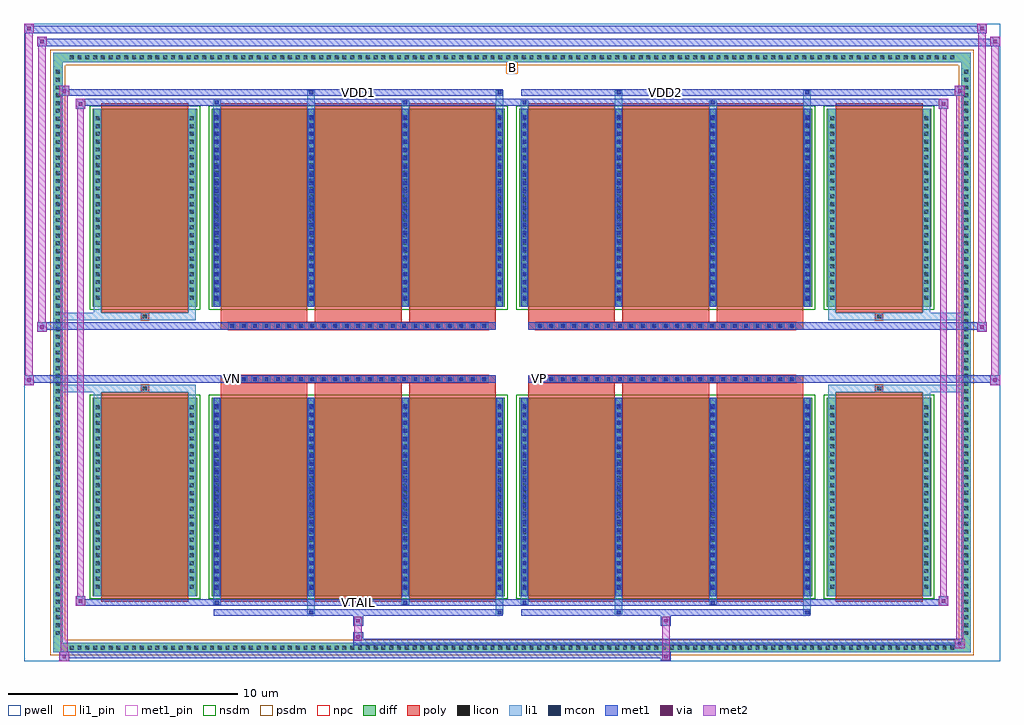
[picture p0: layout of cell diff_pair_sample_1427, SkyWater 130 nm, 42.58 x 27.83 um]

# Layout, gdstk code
import gdstk
lib = gdstk.Library(unit=1e-6, precision=5e-09)
def R(c, l, rs):  # rectangles x0, y0, x1, y1
    for r in rs: c.add(gdstk.rectangle(r[:2], r[2:], *l))
def A(c, l, x, y, w, h, nx, ny, dx, dy):  # array of equal rectangles
    R(c, l, [(x+i*dx, y+j*dy, x+i*dx+w, y+j*dy+h) for i in range(nx) for j in range(ny)])
def P(c, l, *ps):  # polygons
    for p in ps: c.add(gdstk.Polygon(p, *l))
pwell = (64, 44)
diff = (65, 20)
poly = (66, 20)
licon = (66, 44)
li1_pin = (67, 16)
li1 = (67, 20)
mcon = (67, 44)
met1_pin = (68, 16)
met1 = (68, 20)
via = (68, 44)
met2 = (69, 20)
nsdm = (93, 44)
psdm = (94, 20)
npc = (95, 20)

diff_pair_sample_1427 = lib.new_cell('diff_pair_sample_1427')
R(diff_pair_sample_1427, pwell, [(-21.29,-13.48,21.29,14.35), (-18.61,-11.67,-0.01,-0.795), (0.01,-11.67,18.61,-0.795), (-18.61,0.795,-0.01,11.67), (0.01,0.795,18.61,11.67)])
A(diff_pair_sample_1427, diff, -19.415, -13.08, 0.41, 0.41, 114, 2, 0.34, 25.75)
A(diff_pair_sample_1427, diff, -20.02, -12.445, 0.41, 0.41, 1, 73, 0, 0.34)
A(diff_pair_sample_1427, diff, 19.61, -12.445, 0.41, 0.41, 1, 73, 0, 0.34)
R(diff_pair_sample_1427, diff, [(-19.415,-13.08,19.415,-12.67), (-20.02,-12.445,-19.61,12.445), (19.61,-12.445,20.02,12.445), (-18.3,-10.625,-13.74,-1.985), (-13.1,-10.625,-0.32,-1.985), (0.32,-10.625,13.1,-1.985), (13.74,-10.625,18.3,-1.985), (-18.3,1.985,-13.74,10.625), (-13.1,1.985,-0.32,10.625), (0.32,1.985,13.1,10.625), (13.74,1.985,18.3,10.625), (-19.415,12.67,19.415,13.08)])
P(diff_pair_sample_1427, diff, [(20.02,13.08),(-20.02,13.08),(-20.02,-12.67),(-19.61,-12.67),(-19.61,12.67),(19.61,12.67),(19.61,-12.67),(-19.61,-12.67),(-20.02,-12.67),(-20.02,-13.08),(20.02,-13.08)])
A(diff_pair_sample_1427, poly, -12.71, -10.875, 3.78, 9.14, 3, 2, 4.11, 12.61)
A(diff_pair_sample_1427, poly, 0.71, -10.875, 3.78, 9.14, 3, 2, 4.11, 12.61)
A(diff_pair_sample_1427, poly, -12.71, -1.735, 3.78, 0.41, 3, 2, 4.11, 3.06)
A(diff_pair_sample_1427, poly, 0.71, -1.735, 3.78, 0.41, 3, 2, 4.11, 3.06)
A(diff_pair_sample_1427, poly, -12.375, -1.325, 0.33, 0.33, 23, 2, 0.5, 2.32)
A(diff_pair_sample_1427, poly, 1.045, -1.325, 0.33, 0.33, 23, 2, 0.5, 2.32)
R(diff_pair_sample_1427, poly, [(-17.91,-10.875,-14.13,-1.735), (14.13,-10.875,17.91,-1.735), (-16.185,-1.735,-15.855,-1.405), (-16.185,-1.735,-15.855,-1.405), (15.855,-1.735,16.185,-1.405), (15.855,-1.735,16.185,-1.405), (-12.71,-1.325,-0.71,-0.995), (0.71,-1.325,12.71,-0.995), (-12.71,0.995,-0.71,1.325), (0.71,0.995,12.71,1.325), (-16.185,1.405,-15.855,1.735), (-16.185,1.405,-15.855,1.735), (15.855,1.405,16.185,1.735), (15.855,1.405,16.185,1.735), (-17.91,1.735,-14.13,10.875), (14.13,1.735,17.91,10.875)])
A(diff_pair_sample_1427, licon, -19.295, -12.96, 0.17, 0.17, 114, 2, 0.34, 25.75)
A(diff_pair_sample_1427, licon, -19.9, -12.325, 0.17, 0.17, 1, 73, 0, 0.34)
A(diff_pair_sample_1427, licon, 19.73, -12.325, 0.17, 0.17, 1, 73, 0, 0.34)
A(diff_pair_sample_1427, licon, -18.16, -10.3, 0.17, 0.17, 1, 24, 0, 0.34)
A(diff_pair_sample_1427, licon, -14.05, -10.3, 0.17, 0.17, 1, 24, 0, 0.34)
A(diff_pair_sample_1427, licon, -12.96, -10.3, 0.17, 0.17, 4, 24, 4.11, 0.34)
A(diff_pair_sample_1427, licon, 0.46, -10.3, 0.17, 0.17, 4, 24, 4.11, 0.34)
A(diff_pair_sample_1427, licon, 13.88, -10.3, 0.17, 0.17, 1, 24, 0, 0.34)
A(diff_pair_sample_1427, licon, 17.99, -10.3, 0.17, 0.17, 1, 24, 0, 0.34)
A(diff_pair_sample_1427, licon, -12.295, -1.245, 0.17, 0.17, 23, 2, 0.5, 2.32)
A(diff_pair_sample_1427, licon, 1.125, -1.245, 0.17, 0.17, 23, 2, 0.5, 2.32)
A(diff_pair_sample_1427, licon, -18.16, 2.31, 0.17, 0.17, 1, 24, 0, 0.34)
A(diff_pair_sample_1427, licon, -14.05, 2.31, 0.17, 0.17, 1, 24, 0, 0.34)
A(diff_pair_sample_1427, licon, -12.96, 2.31, 0.17, 0.17, 4, 24, 4.11, 0.34)
A(diff_pair_sample_1427, licon, 0.46, 2.31, 0.17, 0.17, 4, 24, 4.11, 0.34)
A(diff_pair_sample_1427, licon, 13.88, 2.31, 0.17, 0.17, 1, 24, 0, 0.34)
A(diff_pair_sample_1427, licon, 17.99, 2.31, 0.17, 0.17, 1, 24, 0, 0.34)
R(diff_pair_sample_1427, licon, [(-16.105,-1.655,-15.935,-1.485), (15.935,-1.655,16.105,-1.485), (-16.105,1.485,-15.935,1.655), (15.935,1.485,16.105,1.655)])
R(diff_pair_sample_1427, li1_pin, [(-0.25,12.17,0.25,12.67)])
A(diff_pair_sample_1427, li1, -19.375, -13.04, 0.33, 0.33, 114, 2, 0.34, 25.75)
A(diff_pair_sample_1427, li1, -19.98, -12.405, 0.33, 0.33, 1, 73, 0, 0.34)
A(diff_pair_sample_1427, li1, 19.65, -12.405, 0.33, 0.33, 1, 73, 0, 0.34)
A(diff_pair_sample_1427, li1, -13.04, -10.625, 0.33, 8.64, 4, 2, 4.11, 12.61)
A(diff_pair_sample_1427, li1, 0.38, -10.625, 0.33, 8.64, 4, 2, 4.11, 12.61)
A(diff_pair_sample_1427, li1, -18.24, -10.38, 0.33, 0.33, 1, 24, 0, 0.34)
A(diff_pair_sample_1427, li1, -14.13, -10.38, 0.33, 0.33, 1, 24, 0, 0.34)
A(diff_pair_sample_1427, li1, -13.04, -10.38, 0.33, 0.33, 4, 24, 4.11, 0.34)
A(diff_pair_sample_1427, li1, 0.38, -10.38, 0.33, 0.33, 4, 24, 4.11, 0.34)
A(diff_pair_sample_1427, li1, 13.8, -10.38, 0.33, 0.33, 1, 24, 0, 0.34)
A(diff_pair_sample_1427, li1, 17.91, -10.38, 0.33, 0.33, 1, 24, 0, 0.34)
A(diff_pair_sample_1427, li1, -12.96, -10.35, 0.17, 0.17, 4, 23, 4.11, 0.36)
A(diff_pair_sample_1427, li1, -12.96, -10.35, 0.17, 8.09, 4, 2, 4.11, 12.61)
A(diff_pair_sample_1427, li1, 0.46, -10.35, 0.17, 0.17, 4, 23, 4.11, 0.36)
A(diff_pair_sample_1427, li1, 0.46, -10.35, 0.17, 8.09, 4, 2, 4.11, 12.61)
A(diff_pair_sample_1427, li1, -12.375, -1.325, 0.33, 0.33, 23, 2, 0.5, 2.32)
A(diff_pair_sample_1427, li1, 1.045, -1.325, 0.33, 0.33, 23, 2, 0.5, 2.32)
A(diff_pair_sample_1427, li1, -18.24, 2.23, 0.33, 0.33, 1, 24, 0, 0.34)
A(diff_pair_sample_1427, li1, -14.13, 2.23, 0.33, 0.33, 1, 24, 0, 0.34)
A(diff_pair_sample_1427, li1, -13.04, 2.23, 0.33, 0.33, 4, 24, 4.11, 0.34)
A(diff_pair_sample_1427, li1, 0.38, 2.23, 0.33, 0.33, 4, 24, 4.11, 0.34)
A(diff_pair_sample_1427, li1, 13.8, 2.23, 0.33, 0.33, 1, 24, 0, 0.34)
A(diff_pair_sample_1427, li1, 17.91, 2.23, 0.33, 0.33, 1, 24, 0, 0.34)
A(diff_pair_sample_1427, li1, -12.96, 2.26, 0.17, 0.17, 4, 23, 4.11, 0.36)
A(diff_pair_sample_1427, li1, 0.46, 2.26, 0.17, 0.17, 4, 23, 4.11, 0.36)
R(diff_pair_sample_1427, li1, [(-20.02,-13.08,-19.61,-12.67), (-20.02,-13.08,-19.61,-12.67), (-19.61,-13.08,19.61,-12.67), (19.61,-13.08,20.02,-12.67), (19.61,-13.08,20.02,-12.67), (-20.02,-12.67,-19.61,12.67), (19.61,-12.67,20.02,12.67), (-8.93,-11.43,-8.6,-10.625), (-8.85,-11.43,-8.68,-11.26), (-0.71,-11.43,-0.38,-10.625), (-0.63,-11.43,-0.46,-11.26), (4.49,-11.43,4.82,-10.625), (4.57,-11.43,4.74,-11.26), (12.71,-11.43,13.04,-10.625), (12.79,-11.43,12.96,-11.26), (-13.04,-11,-12.71,-10.625), (-12.96,-11,-12.79,-10.83), (-4.82,-11,-4.49,-10.625), (-4.74,-11,-4.57,-10.83), (0.38,-11,0.71,-10.625), (0.46,-11,0.63,-10.83), (8.6,-11,8.93,-10.625), (8.68,-11,8.85,-10.83), (-18.24,-10.625,-17.91,-1.985), (-14.13,-10.625,-13.8,-1.985), (13.8,-10.625,14.13,-1.985), (17.91,-10.625,18.24,-1.985), (-18.24,-1.985,-17.91,-1.405), (-14.13,-1.985,-13.8,-1.405), (13.8,-1.985,14.13,-1.405), (17.91,-1.985,18.24,-1.405), (-20.02,-1.735,-16.185,-1.405), (-18.24,-1.735,-16.185,-1.405), (-16.185,-1.735,-15.855,-1.405), (-15.855,-1.735,-13.8,-1.405), (13.8,-1.735,15.855,-1.405), (15.855,-1.735,16.185,-1.405), (15.855,-1.735,20.02,-1.405), (16.185,-1.735,18.24,-1.405), (-20.02,1.405,-16.185,1.735), (-18.24,1.405,-16.185,1.735), (-18.24,1.405,-17.91,1.985), (-16.185,1.405,-15.855,1.735), (-15.855,1.405,-13.8,1.735), (-14.13,1.405,-13.8,1.985), (13.8,1.405,15.855,1.735), (13.8,1.405,14.13,1.985), (15.855,1.405,16.185,1.735), (15.855,1.405,20.02,1.735), (16.185,1.405,18.24,1.735), (17.91,1.405,18.24,1.985), (-18.24,1.985,-17.91,10.625), (-14.13,1.985,-13.8,10.625), (13.8,1.985,14.13,10.625), (17.91,1.985,18.24,10.625), (-13.04,10.625,-12.71,11), (-8.93,10.625,-8.6,11.43), (-4.82,10.625,-4.49,11), (-0.71,10.625,-0.38,11.43), (0.38,10.625,0.71,11), (4.49,10.625,4.82,11.43), (8.6,10.625,8.93,11), (12.71,10.625,13.04,11.43), (-12.96,10.83,-12.79,11), (-4.74,10.83,-4.57,11), (0.46,10.83,0.63,11), (8.68,10.83,8.85,11), (-8.85,11.26,-8.68,11.43), (-0.63,11.26,-0.46,11.43), (4.57,11.26,4.74,11.43), (12.79,11.26,12.96,11.43), (-20.02,12.67,-19.61,13.08), (-20.02,12.67,-19.61,13.08), (-19.61,12.67,19.61,13.08), (19.61,12.67,20.02,13.08), (19.61,12.67,20.02,13.08)])
A(diff_pair_sample_1427, mcon, -12.96, -10.35, 0.17, 0.17, 4, 23, 4.11, 0.36)
A(diff_pair_sample_1427, mcon, 0.46, -10.35, 0.17, 0.17, 4, 23, 4.11, 0.36)
A(diff_pair_sample_1427, mcon, -12.295, -1.245, 0.17, 0.17, 23, 2, 0.5, 2.32)
A(diff_pair_sample_1427, mcon, 1.125, -1.245, 0.17, 0.17, 23, 2, 0.5, 2.32)
A(diff_pair_sample_1427, mcon, -12.96, 2.26, 0.17, 0.17, 4, 23, 4.11, 0.36)
A(diff_pair_sample_1427, mcon, 0.46, 2.26, 0.17, 0.17, 4, 23, 4.11, 0.36)
R(diff_pair_sample_1427, mcon, [(-8.85,-11.43,-8.68,-11.26), (-0.63,-11.43,-0.46,-11.26), (4.57,-11.43,4.74,-11.26), (12.79,-11.43,12.96,-11.26), (-12.96,-11,-12.79,-10.83), (-4.74,-11,-4.57,-10.83), (0.46,-11,0.63,-10.83), (8.68,-11,8.85,-10.83), (-12.96,10.83,-12.79,11), (-4.74,10.83,-4.57,11), (0.46,10.83,0.63,11), (8.68,10.83,8.85,11), (-8.85,11.26,-8.68,11.43), (-0.63,11.26,-0.46,11.43), (4.57,11.26,4.74,11.43), (12.79,11.26,12.96,11.43)])
R(diff_pair_sample_1427, met1_pin, [(-6.845,-11.04,-6.575,-10.77), (-12.345,-1.285,-12.075,-1.015), (1.075,-1.285,1.345,-1.015), (-6.845,11.22,-6.575,11.49), (6.575,11.22,6.845,11.49)])
A(diff_pair_sample_1427, met1, -13.02, -10.625, 0.29, 8.64, 4, 2, 4.11, 12.61)
A(diff_pair_sample_1427, met1, 0.4, -10.625, 0.29, 8.64, 4, 2, 4.11, 12.61)
A(diff_pair_sample_1427, met1, -13.02, -10.41, 0.29, 0.29, 4, 23, 4.11, 0.36)
A(diff_pair_sample_1427, met1, 0.4, -10.41, 0.29, 0.29, 4, 23, 4.11, 0.36)
A(diff_pair_sample_1427, met1, -12.355, -1.305, 0.29, 0.29, 23, 2, 0.5, 2.32)
A(diff_pair_sample_1427, met1, 1.065, -1.305, 0.29, 0.29, 23, 2, 0.5, 2.32)
A(diff_pair_sample_1427, met1, -13.02, 2.2, 0.29, 0.29, 4, 23, 4.11, 0.36)
A(diff_pair_sample_1427, met1, 0.4, 2.2, 0.29, 0.29, 4, 23, 4.11, 0.36)
R(diff_pair_sample_1427, met1, [(-19.75,-13.48,-19.32,-13.05), (6.495,-13.48,6.925,-13.05), (-19.75,-13.34,6.925,-13.05), (19.32,-12.91,19.75,-12.48), (-6.925,-12.77,19.75,-12.48), (-6.925,-12.63,-6.495,-12.2), (-6.925,-11.92,-6.495,-11.49), (6.495,-11.92,6.925,-11.49), (-13.02,-11.49,-0.4,-11.2), (-8.91,-11.49,-8.62,-11.2), (-0.69,-11.49,-0.4,-11.2), (0.4,-11.49,13.02,-11.2), (4.51,-11.49,4.8,-11.2), (12.73,-11.49,13.02,-11.2), (-19.04,-11.06,-18.61,-10.63), (-19.04,-11.06,-13.02,-10.77), (-13.02,-11.06,-12.73,-10.77), (-13.02,-11.06,-0.4,-10.77), (-4.8,-11.06,-4.51,-10.77), (-0.4,-11.06,0.4,-10.77), (0.4,-11.06,0.69,-10.77), (0.4,-11.06,13.02,-10.77), (8.62,-11.06,8.91,-10.77), (13.02,-11.06,19.04,-10.77), (18.61,-11.06,19.04,-10.63), (-21.29,-1.425,-20.86,-0.995), (20.86,-1.425,21.29,-0.995), (-21.29,-1.325,-0.71,-0.995), (-12.71,-1.325,-0.71,-0.995), (0.71,-1.325,12.71,-0.995), (0.71,-1.325,21.29,-0.995), (-20.72,0.895,-20.29,1.325), (20.29,0.895,20.72,1.325), (-20.72,0.995,-12.71,1.325), (-12.71,0.995,-0.71,1.325), (0.71,0.995,12.71,1.325), (12.71,0.995,20.72,1.325), (-19.04,10.63,-18.61,11.06), (18.61,10.63,19.04,11.06), (-19.04,10.77,-13.02,11.06), (-13.02,10.77,-12.73,11.06), (-13.02,10.77,-0.4,11.06), (-4.8,10.77,-4.51,11.06), (-0.4,10.77,0.4,11.06), (0.4,10.77,0.69,11.06), (0.4,10.77,13.02,11.06), (8.62,10.77,8.91,11.06), (13.02,10.77,19.04,11.06), (-19.75,11.2,-19.32,11.63), (-19.75,11.2,-13.02,11.49), (-13.02,11.2,-0.4,11.49), (-8.91,11.2,-8.62,11.49), (-0.69,11.2,-0.4,11.49), (0.4,11.2,13.02,11.49), (4.51,11.2,4.8,11.49), (12.73,11.2,13.02,11.49), (13.02,11.2,19.75,11.49), (19.32,11.2,19.75,11.63), (-20.72,13.35,-20.29,13.78), (-20.72,13.35,-18.61,13.68), (-18.61,13.35,18.61,13.68), (18.61,13.35,21.29,13.68), (20.86,13.35,21.29,13.78), (-21.29,13.92,-20.86,14.35), (-21.29,13.92,-18.61,14.25), (-18.61,13.92,18.61,14.25), (18.61,13.92,20.72,14.25), (20.29,13.92,20.72,14.35)])
R(diff_pair_sample_1427, via, [(-19.61,-13.34,-19.46,-13.19), (6.635,-13.34,6.785,-13.19), (19.46,-12.77,19.61,-12.62), (-6.785,-12.49,-6.635,-12.34), (-6.785,-11.78,-6.635,-11.63), (6.635,-11.78,6.785,-11.63), (-18.9,-10.92,-18.75,-10.77), (18.75,-10.92,18.9,-10.77), (-21.15,-1.285,-21,-1.135), (21,-1.285,21.15,-1.135), (-20.58,1.035,-20.43,1.185), (20.43,1.035,20.58,1.185), (-18.9,10.77,-18.75,10.92), (18.75,10.77,18.9,10.92), (-19.61,11.34,-19.46,11.49), (19.46,11.34,19.61,11.49), (-20.58,13.49,-20.43,13.64), (21,13.49,21.15,13.64), (-21.15,14.06,-21,14.21), (20.43,14.06,20.58,14.21)])
R(diff_pair_sample_1427, met2, [(-19.75,-13.48,-19.32,-13.05), (-19.68,-13.48,-19.39,11.63), (-19.39,-13.48,-19.32,-13.05), (-19.7,-13.43,-19.37,-13.1), (6.545,-13.43,6.875,-13.1), (6.545,-13.1,6.875,-11.87), (19.32,-12.91,19.75,-12.48), (19.39,-12.91,19.68,11.63), (19.68,-12.91,19.75,-12.48), (19.37,-12.86,19.7,-12.53), (-6.875,-12.58,-6.545,-12.25), (-6.875,-12.25,-6.545,-11.87), (-6.875,-11.87,-6.545,-11.54), (6.545,-11.87,6.875,-11.54), (-19.04,-11.06,-18.61,-10.63), (-18.97,-11.06,-18.68,11.06), (-18.68,-11.06,-18.61,-10.63), (18.61,-11.06,19.04,-10.63), (18.68,-11.06,18.97,11.06), (18.97,-11.06,19.04,-10.63), (-18.99,-11.01,-18.66,-10.68), (18.66,-11.01,18.99,-10.68), (-21.29,-1.425,-20.86,-0.995), (-21.24,-1.425,-20.91,14.35), (-20.91,-1.425,-20.86,-0.995), (20.86,-1.425,21.29,-0.995), (20.91,-1.425,21.24,13.78), (21.24,-1.425,21.29,-0.995), (-21.24,-1.375,-20.91,-1.045), (20.91,-1.375,21.24,-1.045), (-20.72,0.895,-20.29,1.325), (-20.67,0.895,-20.34,13.78), (-20.34,0.895,-20.29,1.325), (20.29,0.895,20.72,1.325), (20.34,0.895,20.67,14.35), (20.67,0.895,20.72,1.325), (-20.67,0.945,-20.34,1.275), (20.34,0.945,20.67,1.275), (-19.04,10.63,-18.61,11.06), (-18.68,10.63,-18.61,11.06), (18.61,10.63,19.04,11.06), (18.97,10.63,19.04,11.06), (-18.99,10.68,-18.66,11.01), (18.66,10.68,18.99,11.01), (-19.75,11.2,-19.32,11.63), (-19.39,11.2,-19.32,11.63), (19.32,11.2,19.75,11.63), (19.68,11.2,19.75,11.63), (-19.7,11.25,-19.37,11.58), (19.37,11.25,19.7,11.58), (-20.72,13.35,-20.29,13.78), (-20.34,13.35,-20.29,13.78), (20.86,13.35,21.29,13.78), (21.24,13.35,21.29,13.78), (-20.67,13.4,-20.34,13.73), (20.91,13.4,21.24,13.73), (-21.29,13.92,-20.86,14.35), (-20.91,13.92,-20.86,14.35), (20.29,13.92,20.72,14.35), (20.67,13.92,20.72,14.35), (-21.24,13.97,-20.91,14.3), (20.34,13.97,20.67,14.3)])
R(diff_pair_sample_1427, nsdm, [(-18.43,-10.755,-13.61,-1.855), (-13.23,-10.755,-0.19,-1.855), (0.19,-10.755,13.23,-1.855), (13.61,-10.755,18.43,-1.855), (-18.43,1.855,-13.61,10.755), (-13.23,1.855,-0.19,10.755), (0.19,1.855,13.23,10.755), (13.61,1.855,18.43,10.755)])
P(diff_pair_sample_1427, psdm, [(20.15,13.21),(-20.15,13.21),(-20.15,-12.54),(-19.48,-12.54),(-19.48,12.54),(19.48,12.54),(19.48,-12.54),(-19.48,-12.54),(-20.15,-12.54),(-20.15,-13.21),(20.15,-13.21)])
A(diff_pair_sample_1427, npc, -12.395, -1.345, 0.37, 0.37, 23, 2, 0.5, 2.32)
A(diff_pair_sample_1427, npc, 1.025, -1.345, 0.37, 0.37, 23, 2, 0.5, 2.32)
R(diff_pair_sample_1427, npc, [(-16.205,-1.755,-15.835,-1.385), (15.835,-1.755,16.205,-1.385), (-12.395,-1.345,-11.525,-0.975), (-12.395,-1.345,-11.525,-0.975), (-11.895,-1.345,-11.025,-0.975), (-11.895,-1.345,-11.025,-0.975), (-11.395,-1.345,-10.525,-0.975), (-11.395,-1.345,-10.525,-0.975), (-10.895,-1.345,-10.025,-0.975), (-10.895,-1.345,-10.025,-0.975), (-10.395,-1.345,-9.525,-0.975), (-10.395,-1.345,-9.525,-0.975), (-9.895,-1.345,-9.025,-0.975), (-9.895,-1.345,-9.025,-0.975), (-9.395,-1.345,-8.525,-0.975), (-9.395,-1.345,-8.525,-0.975), (-8.895,-1.345,-8.025,-0.975), (-8.895,-1.345,-8.025,-0.975), (-8.395,-1.345,-7.525,-0.975), (-8.395,-1.345,-7.525,-0.975), (-7.895,-1.345,-7.025,-0.975), (-7.895,-1.345,-7.025,-0.975), (-7.395,-1.345,-6.525,-0.975), (-7.395,-1.345,-6.525,-0.975), (-6.895,-1.345,-6.025,-0.975), (-6.895,-1.345,-6.025,-0.975), (-6.395,-1.345,-5.525,-0.975), (-6.395,-1.345,-5.525,-0.975), (-5.895,-1.345,-5.025,-0.975), (-5.895,-1.345,-5.025,-0.975), (-5.395,-1.345,-4.525,-0.975), (-5.395,-1.345,-4.525,-0.975), (-4.895,-1.345,-4.025,-0.975), (-4.895,-1.345,-4.025,-0.975), (-4.395,-1.345,-3.525,-0.975), (-4.395,-1.345,-3.525,-0.975), (-3.895,-1.345,-3.025,-0.975), (-3.895,-1.345,-3.025,-0.975), (-3.395,-1.345,-2.525,-0.975), (-3.395,-1.345,-2.525,-0.975), (-2.895,-1.345,-2.025,-0.975), (-2.895,-1.345,-2.025,-0.975), (-2.395,-1.345,-1.525,-0.975), (-2.395,-1.345,-1.525,-0.975), (-1.895,-1.345,-1.025,-0.975), (-1.895,-1.345,-1.025,-0.975), (1.025,-1.345,1.895,-0.975), (1.025,-1.345,1.895,-0.975), (1.525,-1.345,2.395,-0.975), (1.525,-1.345,2.395,-0.975), (2.025,-1.345,2.895,-0.975), (2.025,-1.345,2.895,-0.975), (2.525,-1.345,3.395,-0.975), (2.525,-1.345,3.395,-0.975), (3.025,-1.345,3.895,-0.975), (3.025,-1.345,3.895,-0.975), (3.525,-1.345,4.395,-0.975), (3.525,-1.345,4.395,-0.975), (4.025,-1.345,4.895,-0.975), (4.025,-1.345,4.895,-0.975), (4.525,-1.345,5.395,-0.975), (4.525,-1.345,5.395,-0.975), (5.025,-1.345,5.895,-0.975), (5.025,-1.345,5.895,-0.975), (5.525,-1.345,6.395,-0.975), (5.525,-1.345,6.395,-0.975), (6.025,-1.345,6.895,-0.975), (6.025,-1.345,6.895,-0.975), (6.525,-1.345,7.395,-0.975), (6.525,-1.345,7.395,-0.975), (7.025,-1.345,7.895,-0.975), (7.025,-1.345,7.895,-0.975), (7.525,-1.345,8.395,-0.975), (7.525,-1.345,8.395,-0.975), (8.025,-1.345,8.895,-0.975), (8.025,-1.345,8.895,-0.975), (8.525,-1.345,9.395,-0.975), (8.525,-1.345,9.395,-0.975), (9.025,-1.345,9.895,-0.975), (9.025,-1.345,9.895,-0.975), (9.525,-1.345,10.395,-0.975), (9.525,-1.345,10.395,-0.975), (10.025,-1.345,10.895,-0.975), (10.025,-1.345,10.895,-0.975), (10.525,-1.345,11.395,-0.975), (10.525,-1.345,11.395,-0.975), (11.025,-1.345,11.895,-0.975), (11.025,-1.345,11.895,-0.975), (11.525,-1.345,12.395,-0.975), (11.525,-1.345,12.395,-0.975), (-12.395,0.975,-11.525,1.345), (-12.395,0.975,-11.525,1.345), (-11.895,0.975,-11.025,1.345), (-11.895,0.975,-11.025,1.345), (-11.395,0.975,-10.525,1.345), (-11.395,0.975,-10.525,1.345), (-10.895,0.975,-10.025,1.345), (-10.895,0.975,-10.025,1.345), (-10.395,0.975,-9.525,1.345), (-10.395,0.975,-9.525,1.345), (-9.895,0.975,-9.025,1.345), (-9.895,0.975,-9.025,1.345), (-9.395,0.975,-8.525,1.345), (-9.395,0.975,-8.525,1.345), (-8.895,0.975,-8.025,1.345), (-8.895,0.975,-8.025,1.345), (-8.395,0.975,-7.525,1.345), (-8.395,0.975,-7.525,1.345), (-7.895,0.975,-7.025,1.345), (-7.895,0.975,-7.025,1.345), (-7.395,0.975,-6.525,1.345), (-7.395,0.975,-6.525,1.345), (-6.895,0.975,-6.025,1.345), (-6.895,0.975,-6.025,1.345), (-6.395,0.975,-5.525,1.345), (-6.395,0.975,-5.525,1.345), (-5.895,0.975,-5.025,1.345), (-5.895,0.975,-5.025,1.345), (-5.395,0.975,-4.525,1.345), (-5.395,0.975,-4.525,1.345), (-4.895,0.975,-4.025,1.345), (-4.895,0.975,-4.025,1.345), (-4.395,0.975,-3.525,1.345), (-4.395,0.975,-3.525,1.345), (-3.895,0.975,-3.025,1.345), (-3.895,0.975,-3.025,1.345), (-3.395,0.975,-2.525,1.345), (-3.395,0.975,-2.525,1.345), (-2.895,0.975,-2.025,1.345), (-2.895,0.975,-2.025,1.345), (-2.395,0.975,-1.525,1.345), (-2.395,0.975,-1.525,1.345), (-1.895,0.975,-1.025,1.345), (-1.895,0.975,-1.025,1.345), (1.025,0.975,1.895,1.345), (1.025,0.975,1.895,1.345), (1.525,0.975,2.395,1.345), (1.525,0.975,2.395,1.345), (2.025,0.975,2.895,1.345), (2.025,0.975,2.895,1.345), (2.525,0.975,3.395,1.345), (2.525,0.975,3.395,1.345), (3.025,0.975,3.895,1.345), (3.025,0.975,3.895,1.345), (3.525,0.975,4.395,1.345), (3.525,0.975,4.395,1.345), (4.025,0.975,4.895,1.345), (4.025,0.975,4.895,1.345), (4.525,0.975,5.395,1.345), (4.525,0.975,5.395,1.345), (5.025,0.975,5.895,1.345), (5.025,0.975,5.895,1.345), (5.525,0.975,6.395,1.345), (5.525,0.975,6.395,1.345), (6.025,0.975,6.895,1.345), (6.025,0.975,6.895,1.345), (6.525,0.975,7.395,1.345), (6.525,0.975,7.395,1.345), (7.025,0.975,7.895,1.345), (7.025,0.975,7.895,1.345), (7.525,0.975,8.395,1.345), (7.525,0.975,8.395,1.345), (8.025,0.975,8.895,1.345), (8.025,0.975,8.895,1.345), (8.525,0.975,9.395,1.345), (8.525,0.975,9.395,1.345), (9.025,0.975,9.895,1.345), (9.025,0.975,9.895,1.345), (9.525,0.975,10.395,1.345), (9.525,0.975,10.395,1.345), (10.025,0.975,10.895,1.345), (10.025,0.975,10.895,1.345), (10.525,0.975,11.395,1.345), (10.525,0.975,11.395,1.345), (11.025,0.975,11.895,1.345), (11.025,0.975,11.895,1.345), (11.525,0.975,12.395,1.345), (11.525,0.975,12.395,1.345), (-16.205,1.385,-15.835,1.755), (15.835,1.385,16.205,1.755)])
diff_pair_sample_1427.add(gdstk.Label('VTAIL', (-6.71,-10.905), layer=68, texttype=5))
diff_pair_sample_1427.add(gdstk.Label('VN', (-12.21,-1.15), layer=68, texttype=5))
diff_pair_sample_1427.add(gdstk.Label('VP', (1.21,-1.15), layer=68, texttype=5))
diff_pair_sample_1427.add(gdstk.Label('B', (0,12.42), layer=67, texttype=5))
diff_pair_sample_1427.add(gdstk.Label('VDD2', (6.71,11.355), layer=68, texttype=5))
diff_pair_sample_1427.add(gdstk.Label('VDD1', (-6.71,11.355), layer=68, texttype=5))

lib.write_gds('diff_pair_sample_1427.gds')
